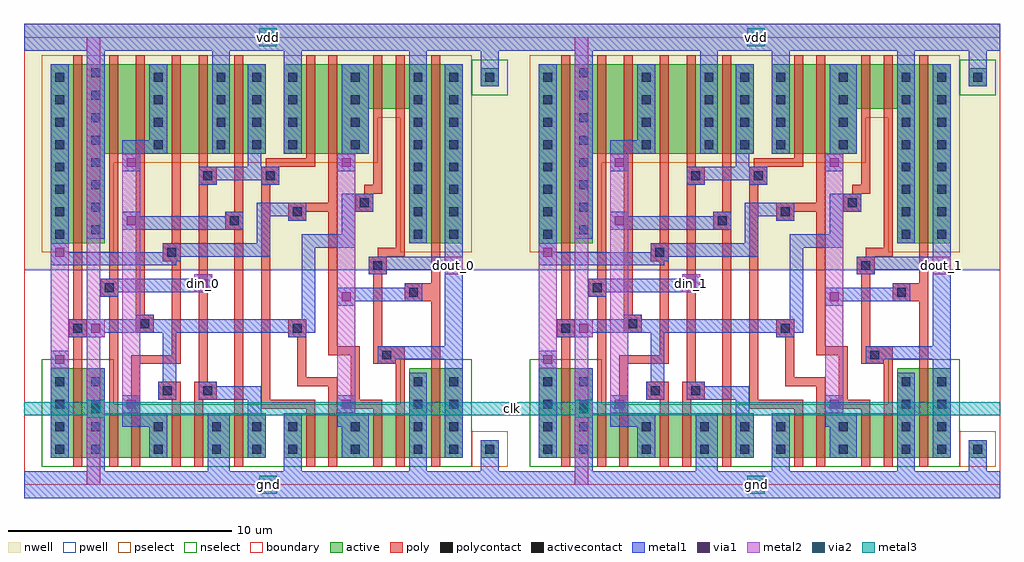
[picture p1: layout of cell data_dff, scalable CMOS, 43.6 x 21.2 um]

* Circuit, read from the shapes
.subckt data_dff clk din_0 din_1 dout_0 dout_1 gnd vdd
M1 gnd clk n1 gnd nfet w=4u l=0.4u
M2 n2 din_0 gnd gnd nfet w=2u l=0.4u
M3 n3 n1 n2 gnd nfet w=2u l=0.4u
M4 n4 clk n3 gnd nfet w=2u l=0.4u
M5 gnd n5 n4 gnd nfet w=2u l=0.4u
M6 n5 n3 gnd gnd nfet w=2u l=0.4u
M7 n6 n5 gnd gnd nfet w=2u l=0.4u
M8 n7 clk n6 gnd nfet w=2u l=0.4u
M9 n8 n1 n7 gnd nfet w=2u l=0.4u
M10 gnd dout_0 n8 gnd nfet w=2u l=0.4u
M11 dout_0 n7 gnd gnd nfet w=4u l=0.4u
M12 gnd clk n9 gnd nfet w=4u l=0.4u
M13 n10 din_1 gnd gnd nfet w=2u l=0.4u
M14 n11 n9 n10 gnd nfet w=2u l=0.4u
M15 n12 clk n11 gnd nfet w=2u l=0.4u
M16 gnd n13 n12 gnd nfet w=2u l=0.4u
M17 n13 n11 gnd gnd nfet w=2u l=0.4u
M18 n14 n13 gnd gnd nfet w=2u l=0.4u
M19 n15 clk n14 gnd nfet w=2u l=0.4u
M20 n16 n9 n15 gnd nfet w=2u l=0.4u
M21 gnd dout_1 n16 gnd nfet w=2u l=0.4u
M22 dout_1 n15 gnd gnd nfet w=4u l=0.4u
M23 vdd clk n1 vdd pfet w=8u l=0.4u
M24 n17 din_0 vdd vdd pfet w=4u l=0.4u
M25 n3 clk n17 vdd pfet w=4u l=0.4u
M26 n18 n1 n3 vdd pfet w=4u l=0.4u
M27 vdd n5 n18 vdd pfet w=4u l=0.4u
M28 n5 n3 vdd vdd pfet w=4u l=0.4u
M29 n19 n5 vdd vdd pfet w=4u l=0.4u
M30 n7 n1 n19 vdd pfet w=4u l=0.4u
M31 n20 clk n7 vdd pfet w=2u l=0.4u
M32 vdd dout_0 n20 vdd pfet w=2u l=0.4u
M33 dout_0 n7 vdd vdd pfet w=8u l=0.4u
M34 vdd clk n9 vdd pfet w=8u l=0.4u
M35 n21 din_1 vdd vdd pfet w=4u l=0.4u
M36 n11 clk n21 vdd pfet w=4u l=0.4u
M37 n22 n9 n11 vdd pfet w=4u l=0.4u
M38 vdd n13 n22 vdd pfet w=4u l=0.4u
M39 n13 n11 vdd vdd pfet w=4u l=0.4u
M40 n23 n13 vdd vdd pfet w=4u l=0.4u
M41 n15 n9 n23 vdd pfet w=4u l=0.4u
M42 n24 clk n15 vdd pfet w=2u l=0.4u
M43 vdd dout_1 n24 vdd pfet w=2u l=0.4u
M44 dout_1 n15 vdd vdd pfet w=8u l=0.4u
.ends

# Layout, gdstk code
from math import pi, radians
import gdstk
lib = gdstk.Library(unit=1e-6, precision=1e-09)
def R(c, l, rs):  # rectangles x0, y0, x1, y1
    for r in rs: c.add(gdstk.rectangle(r[:2], r[2:], *l))
def A(c, l, x, y, w, h, nx, ny, dx, dy):  # array of equal rectangles
    R(c, l, [(x+i*dx, y+j*dy, x+i*dx+w, y+j*dy+h) for i in range(nx) for j in range(ny)])
pwell = (41, 0)
nwell = (42, 0)
active = (43, 0)
pselect = (44, 0)
nselect = (45, 0)
poly = (46, 0)
polycontact = (47, 0)
activecontact = (48, 0)
metal1 = (49, 0)
via1 = (50, 0)
metal2 = (51, 0)
via2 = (61, 0)
metal3 = (62, 0)
boundary = (63, 0)

dff = lib.new_cell('dff')
R(dff, pwell, [(0,-0.6,21.8,9.6)])
R(dff, nwell, [(0,9.6,21.8,20.6)])
R(dff, active, [(1.2,1.2,10.8,3.2), (11.6,1.2,19.6,3.2), (20.4,1.2,21.2,2), (1.2,3.2,3.6,5.2), (17.2,3.2,19.6,5.2), (1.2,10.8,3.6,14.8), (17.2,10.8,19.6,16.8), (1.2,14.8,10.8,18.8), (11.6,14.8,15.4,16.8), (11.6,16.8,19.6,18.8), (20.4,17.8,21.2,18.6)])
R(dff, pselect, [(20,0.8,21.6,2.4), (0.8,10.4,4,14.4), (16.8,10.4,20,16.4), (0.8,14.4,15.8,16.4), (0.8,16.4,20,19.2)])
R(dff, nselect, [(0.8,0.8,20,3.6), (0.8,3.6,4,5.6), (16.8,3.6,20,5.6), (20,17.4,21.6,19)])
R(dff, poly, [(2.2,0.8,2.6,6.6), (3.8,0.8,4.2,8.4), (4.8,0.8,5.2,5.4), (6.6,0.8,7,3.8), (7.6,0.8,8,3.8), (9.4,0.8,9.8,11.4), (12.6,0.8,13,3.4), (13.6,0.8,14,4.4), (15.6,0.8,16,3.4), (16.6,0.8,17,5.4), (18.2,0.8,18.6,8.2), (10.6,3.4,13,3.8), (14.6,3.4,16,3.8), (6,3.8,7,4.6), (7.6,3.8,8.6,4.6), (10.6,3.8,11,13.4), (14.6,3.8,15,5.8), (12.2,4.4,14,4.8), (7.8,4.6,8.2,13.4), (12.2,4.8,12.6,6.6), (4.8,5.4,7,5.8), (15.6,5.4,17,6.2), (6.6,5.8,7,10), (13.6,5.8,15,6.2), (13.6,6.2,14,12.2), (15.6,6.2,16,9.4), (2,6.6,2.8,7.4), (11.8,6.6,12.6,7.4), (5,6.8,5.8,7.6), (2.2,7.4,2.6,19.2), (5,7.6,5.4,19.2), (17,8.2,18.6,9), (3.4,8.4,4.2,9.2), (18.2,9,18.6,19.2), (3.8,9.2,4.2,19.2), (15.4,9.4,16.2,10.2), (6.2,10,7,10.8), (15.8,10.2,17,10.6), (16.6,10.6,17,19.2), (6.6,10.8,7,19.2), (9,11.4,9.8,12.2), (11.8,11.8,12.6,12.2), (9.4,12.2,9.8,19.2), (11.8,12.2,14,12.6), (14.8,12.2,15.6,13), (13.6,12.6,14,19.2), (15.2,13,16,13.4), (7.8,13.4,8.6,14.2), (10.6,13.4,11.4,14.2), (15.6,13.4,16,19.2), (7.8,14.2,8.2,19.2), (10.8,14.2,13,14.6), (12.6,14.6,13,19.2)])
R(dff, polycontact, [(6.2,4,6.6,4.4), (8,4,8.4,4.4), (16,5.6,16.4,6), (2.2,6.8,2.6,7.2), (12,6.8,12.4,7.2), (5.2,7,5.6,7.4), (17.2,8.4,17.6,8.8), (3.6,8.6,4,9), (15.6,9.6,16,10), (6.4,10.2,6.8,10.6), (9.2,11.6,9.6,12), (12,12,12.4,12.4), (15,12.4,15.4,12.8), (8,13.6,8.4,14), (10.8,13.6,11.2,14)])
A(dff, activecontact, 1.4, 1.4, 0.4, 0.4, 1, 4, 0, 1)
A(dff, activecontact, 3, 1.4, 0.4, 0.4, 1, 4, 0, 1)
A(dff, activecontact, 11.8, 1.4, 0.4, 0.4, 3, 2, 2.8, 1)
A(dff, activecontact, 19, 1.4, 0.4, 0.4, 1, 4, 0, 1)
A(dff, activecontact, 1.4, 11, 0.4, 0.4, 1, 8, 0, 1)
A(dff, activecontact, 17.4, 11, 0.4, 0.4, 1, 7, 0, 1)
A(dff, activecontact, 19, 11, 0.4, 0.4, 1, 7, 0, 1)
A(dff, activecontact, 3, 11.2, 0.4, 0.4, 1, 8, 0, 1)
A(dff, activecontact, 5.8, 15, 0.4, 0.4, 1, 4, 0, 1)
A(dff, activecontact, 8.6, 15, 0.4, 0.4, 3, 4, 1.6, 1)
A(dff, activecontact, 14.6, 15, 0.4, 0.4, 1, 4, 0, 1)
A(dff, activecontact, 17.4, 18, 0.4, 0.4, 3, 1, 1.6, 0)
R(dff, activecontact, [(5.8,1.4,6.2,1.8), (8.4,1.4,8.8,1.8), (10.2,1.4,10.6,1.8), (20.6,1.4,21,1.8), (5.8,2.4,6.2,2.8), (8.4,2.4,8.8,2.8), (10.2,2.4,10.6,2.8), (17.4,3.4,17.8,3.8), (17.4,4.4,17.8,4.8)])
R(dff, metal1, [(0,-0.6,21.8,0.6), (0,-0.6,21.8,0.6), (2.8,0.6,3.6,5.2), (8.2,0.6,9.2,3.2), (11.6,0.6,12.4,3.2), (17.2,0.6,18,5), (20.4,0.6,21.2,2), (1.2,1.2,2,6), (5.6,1.2,6.4,2.6), (10,1.2,10.8,3.2), (14.2,1.2,15.4,2.6), (18.8,1.2,19.6,5.6), (4.4,2.6,6.4,3.2), (14,2.6,15.4,3.2), (4.4,3.2,5.2,4), (10,3.2,10.6,3.8), (14,3.2,14.8,4), (6,3.8,6.8,4.6), (7.8,3.8,10.6,4.4), (7.8,4.4,8.6,4.6), (6.2,4.6,6.8,6.8), (15.8,5.4,16.6,5.6), (15.8,5.6,19.6,6.2), (18.8,6.2,19.6,9.6), (2,6.6,3.6,6.8), (11.8,6.6,12.6,6.8), (2,6.8,13,7.4), (5,7.4,5.8,7.6), (12.4,7.4,13,10.6), (14,8,14.8,8.2), (14,8.2,17.8,8.8), (3.4,8.4,4.2,8.6), (3.4,8.6,8.4,9.2), (17,8.8,17.8,9), (7.6,9.2,8.4,9.4), (15.4,9.4,16.2,9.6), (15.4,9.6,19.6,10.2), (1.2,9.8,6.8,10), (1.2,10,7,10.2), (1.2,10.2,11,10.4), (18.8,10.2,19.6,18.8), (1.2,10.4,2,18.8), (6.2,10.4,11,10.8), (12.4,10.6,14.8,11.2), (10.4,10.8,11,12), (17.2,10.8,18,19.4), (2.8,11,3.6,19.4), (14.2,11.2,14.8,12.2), (4.4,11.4,9.8,12), (11.8,11.8,12.6,12), (4.4,12,5.2,12.2), (9,12,9.8,12.2), (10.4,12,12.6,12.6), (14.2,12.2,15.6,13), (7.8,13.4,8.6,13.6), (10.6,13.4,11.4,13.6), (7.8,13.6,11.4,14.2), (4.4,14,5.2,14.8), (14,14,14.8,14.8), (10,14.2,10.6,14.8), (4.4,14.8,6.4,15.4), (8.4,14.8,9.2,19.4), (10,14.8,10.8,18.8), (11.6,14.8,12.4,19.4), (14.2,14.8,15.4,18.8), (5.6,15.4,6.4,18.8), (20.4,17.8,21.2,19.4), (0,19.4,21.8,20.6), (0,19.4,21.8,20.6)])
R(dff, via1, [(4.6,3.4,5,3.8), (14.2,3.4,14.6,3.8), (1.4,5.4,1.8,5.8), (3,6.8,3.4,7.2), (14.2,8.2,14.6,8.6), (7.8,8.8,8.2,9.2), (19,9.6,19.4,10), (1.4,10.2,1.8,10.6), (4.6,11.6,5,12), (4.6,14.2,5,14.6), (14.2,14.2,14.6,14.6)])
R(dff, metal2, [(4.4,3.2,5.2,14.8), (14,3.2,14.8,14.8), (1.2,5.2,2,10.8), (2.8,6.6,3.6,7.4), (2.8,6.6,3.6,7.4), (7.6,8.6,8.4,9.4), (7.6,8.6,8.4,9.4), (18.8,9.4,19.6,10.2), (18.8,9.4,19.6,10.2)])
R(dff, boundary, [(0,0,21.8,20)])
dff.add(gdstk.Label('clk', (3,6.8), layer=51, texttype=0))
dff.add(gdstk.Label('D', (8,9), layer=51, texttype=0))
dff.add(gdstk.Label('Q', (19.2,9.8), layer=51, texttype=0))
dff.add(gdstk.Label('vdd', (6.4,19.6), layer=49, texttype=0))
dff.add(gdstk.Label('gnd', (8.8,0.2), layer=49, texttype=0))
dff.add(gdstk.Label('D', (8,9), layer=51, texttype=0))
dff.add(gdstk.Label('Q', (19.2,9.8), layer=51, texttype=0))
dff.add(gdstk.Label('clk', (3.2,7), layer=51, texttype=0))
dff.add(gdstk.Label('vdd', (10.9,20), layer=49, texttype=0))
dff.add(gdstk.Label('gnd', (10.9,0), layer=49, texttype=0))

metal1_via1_metal2_1x1 = lib.new_cell('metal1_via1_metal2_1x1')
R(metal1_via1_metal2_1x1, metal1, [(0,0,0.8,0.8)])
R(metal1_via1_metal2_1x1, via1, [(0.2,0.2,0.6,0.6)])
R(metal1_via1_metal2_1x1, metal2, [(0,0,0.8,0.8)])

metal2_via2_metal3_1x1 = lib.new_cell('metal2_via2_metal3_1x1')
R(metal2_via2_metal3_1x1, metal2, [(0,0,0.8,0.8)])
R(metal2_via2_metal3_1x1, via2, [(0.2,0.2,0.6,0.6)])
R(metal2_via2_metal3_1x1, metal3, [(0,0,0.8,0.8)])

data_dff = lib.new_cell('data_dff')
R(data_dff, metal2, [(2.8,0,3.4,20), (24.6,0,25.2,20), (7.6,8.6,8.4,9.4), (29.4,8.6,30.2,9.4), (18.8,9.4,19.6,10.2), (40.6,9.4,41.4,10.2)])
R(data_dff, metal3, [(10.5,-0.4,11.3,0.4), (32.3,-0.4,33.1,0.4), (0,3.1,43.6,3.7), (10.5,19.6,11.3,20.4), (32.3,19.6,33.1,20.4)])
data_dff.add(gdstk.Reference(dff, (0,0)))
data_dff.add(gdstk.Reference(dff, (21.8,0)))
data_dff.add(gdstk.Reference(metal1_via1_metal2_1x1, (11.3,19.6), rotation=pi/2))
data_dff.add(gdstk.Reference(metal2_via2_metal3_1x1, (11.3,19.6), rotation=pi/2))
data_dff.add(gdstk.Reference(metal1_via1_metal2_1x1, (11.3,-0.4), rotation=pi/2))
data_dff.add(gdstk.Reference(metal2_via2_metal3_1x1, (11.3,-0.4), rotation=pi/2))
data_dff.add(gdstk.Reference(metal1_via1_metal2_1x1, (33.1,19.6), rotation=pi/2))
data_dff.add(gdstk.Reference(metal2_via2_metal3_1x1, (33.1,19.6), rotation=pi/2))
data_dff.add(gdstk.Reference(metal1_via1_metal2_1x1, (33.1,-0.4), rotation=pi/2))
data_dff.add(gdstk.Reference(metal2_via2_metal3_1x1, (33.1,-0.4), rotation=pi/2))
data_dff.add(gdstk.Reference(metal2_via2_metal3_1x1, (2.8,3)))
data_dff.add(gdstk.Reference(metal2_via2_metal3_1x1, (24.6,3)))
data_dff.add(gdstk.Label('vdd', (10.9,20), layer=62, texttype=0))
data_dff.add(gdstk.Label('vdd', (32.7,20), layer=62, texttype=0))
data_dff.add(gdstk.Label('gnd', (10.9,0), layer=62, texttype=0))
data_dff.add(gdstk.Label('gnd', (32.7,0), layer=62, texttype=0))
data_dff.add(gdstk.Label('din_0', (8,9), layer=51, texttype=0))
data_dff.add(gdstk.Label('dout_0', (19.2,9.8), layer=51, texttype=0))
data_dff.add(gdstk.Label('din_1', (29.8,9), layer=51, texttype=0))
data_dff.add(gdstk.Label('dout_1', (41,9.8), layer=51, texttype=0))
data_dff.add(gdstk.Label('clk', (21.8,3.4), layer=62, texttype=0))

lib.write_gds('data_dff.gds')
